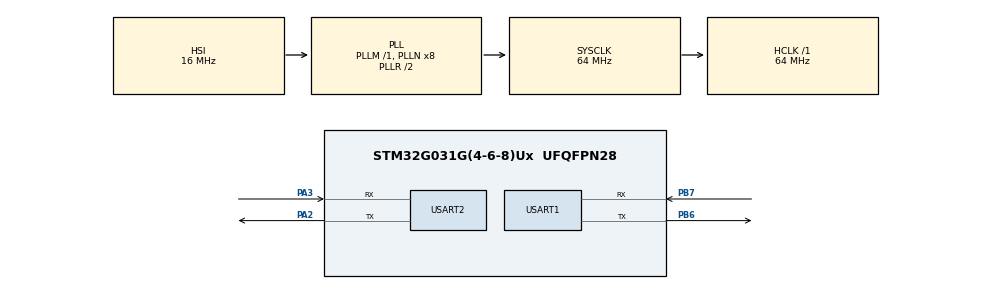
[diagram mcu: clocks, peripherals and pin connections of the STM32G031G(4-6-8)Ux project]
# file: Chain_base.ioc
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Dma.Request0=USART1_RX
Dma.Request1=USART1_TX
Dma.Request2=USART2_RX
Dma.Request3=USART2_TX
Dma.USART1_RX.0.Direction=DMA_PERIPH_TO_MEMORY
Dma.USART1_RX.0.EventEnable=DISABLE
Dma.USART1_RX.0.Instance=DMA1_Channel1
Dma.USART1_RX.0.MemDataAlignment=DMA_MDATAALIGN_BYTE
Dma.USART1_RX.0.MemInc=DMA_MINC_ENABLE
Dma.USART1_RX.0.Mode=DMA_NORMAL
Dma.USART1_RX.0.PeriphDataAlignment=DMA_PDATAALIGN_BYTE
Dma.USART1_RX.0.PeriphInc=DMA_PINC_DISABLE
Dma.USART1_RX.0.Polarity=HAL_DMAMUX_REQ_GEN_RISING
Dma.USART1_RX.0.Priority=DMA_PRIORITY_LOW
Dma.USART1_RX.0.RequestNumber=1
Dma.USART1_RX.0.SignalID=NONE
Dma.USART1_RX.0.SyncEnable=DISABLE
Dma.USART1_RX.0.SyncPolarity=HAL_DMAMUX_SYNC_NO_EVENT
Dma.USART1_RX.0.SyncRequestNumber=1
Dma.USART1_RX.0.SyncSignalID=NONE
Dma.USART1_TX.1.Direction=DMA_MEMORY_TO_PERIPH
Dma.USART1_TX.1.EventEnable=DISABLE
Dma.USART1_TX.1.Instance=DMA1_Channel2
Dma.USART1_TX.1.MemDataAlignment=DMA_MDATAALIGN_BYTE
Dma.USART1_TX.1.MemInc=DMA_MINC_ENABLE
Dma.USART1_TX.1.Mode=DMA_NORMAL
Dma.USART1_TX.1.PeriphDataAlignment=DMA_PDATAALIGN_BYTE
Dma.USART1_TX.1.PeriphInc=DMA_PINC_DISABLE
Dma.USART1_TX.1.Polarity=HAL_DMAMUX_REQ_GEN_RISING
Dma.USART1_TX.1.Priority=DMA_PRIORITY_LOW
Dma.USART1_TX.1.RequestNumber=1
Dma.USART1_TX.1.SignalID=NONE
Dma.USART1_TX.1.SyncEnable=DISABLE
Dma.USART1_TX.1.SyncPolarity=HAL_DMAMUX_SYNC_NO_EVENT
Dma.USART1_TX.1.SyncRequestNumber=1
Dma.USART1_TX.1.SyncSignalID=NONE
Dma.USART2_RX.2.Direction=DMA_PERIPH_TO_MEMORY
Dma.USART2_RX.2.EventEnable=DISABLE
Dma.USART2_RX.2.Instance=DMA1_Channel3
Dma.USART2_RX.2.MemDataAlignment=DMA_MDATAALIGN_BYTE
Dma.USART2_RX.2.MemInc=DMA_MINC_ENABLE
Dma.USART2_RX.2.Mode=DMA_NORMAL
Dma.USART2_RX.2.PeriphDataAlignment=DMA_PDATAALIGN_BYTE
Dma.USART2_RX.2.PeriphInc=DMA_PINC_DISABLE
Dma.USART2_RX.2.Polarity=HAL_DMAMUX_REQ_GEN_RISING
Dma.USART2_RX.2.Priority=DMA_PRIORITY_LOW
Dma.USART2_RX.2.RequestNumber=1
Dma.USART2_RX.2.SignalID=NONE
Dma.USART2_RX.2.SyncEnable=DISABLE
Dma.USART2_RX.2.SyncPolarity=HAL_DMAMUX_SYNC_NO_EVENT
Dma.USART2_RX.2.SyncRequestNumber=1
Dma.USART2_RX.2.SyncSignalID=NONE
Dma.USART2_TX.3.Direction=DMA_MEMORY_TO_PERIPH
Dma.USART2_TX.3.EventEnable=DISABLE
Dma.USART2_TX.3.Instance=DMA1_Channel4
Dma.USART2_TX.3.MemDataAlignment=DMA_MDATAALIGN_BYTE
Dma.USART2_TX.3.MemInc=DMA_MINC_ENABLE
Dma.USART2_TX.3.Mode=DMA_NORMAL
Dma.USART2_TX.3.PeriphDataAlignment=DMA_PDATAALIGN_BYTE
Dma.USART2_TX.3.PeriphInc=DMA_PINC_DISABLE
Dma.USART2_TX.3.Polarity=HAL_DMAMUX_REQ_GEN_RISING
Dma.USART2_TX.3.Priority=DMA_PRIORITY_LOW
Dma.USART2_TX.3.RequestNumber=1
Dma.USART2_TX.3.SignalID=NONE
Dma.USART2_TX.3.SyncEnable=DISABLE
Dma.USART2_TX.3.SyncPolarity=HAL_DMAMUX_SYNC_NO_EVENT
Dma.USART2_TX.3.SyncRequestNumber=1
Dma.USART2_TX.3.SyncSignalID=NONE
IWDG.Prescaler=IWDG_PRESCALER_16
Mcu.Family=STM32G0
Mcu.Name=STM32G031G(4-6-8)Ux
Mcu.Package=UFQFPN28
NVIC.DMA1_Ch4_5_DMAMUX1_OVR_IRQn=true\:1\:0\:true\:false\:true\:false\:true\:true
NVIC.DMA1_Channel1_IRQn=true\:1\:0\:true\:false\:true\:false\:true\:true
NVIC.DMA1_Channel2_3_IRQn=true\:1\:0\:true\:false\:true\:false\:true\:true
NVIC.FLASH_IRQn=true\:1\:0\:true\:false\:true\:true\:true\:true
NVIC.TIM14_IRQn=true\:1\:0\:true\:false\:true\:true\:true\:true
NVIC.TIM16_IRQn=true\:1\:0\:true\:false\:true\:true\:true\:true
NVIC.USART1_IRQn=true\:0\:0\:false\:false\:true\:false\:true\:true
NVIC.USART2_IRQn=true\:0\:0\:false\:false\:true\:false\:true\:true
PA2.GPIO_PuPd=GPIO_PULLUP
PA2.GPIO_Speed=GPIO_SPEED_FREQ_HIGH
PA2.Mode=Asynchronous
PA2.PinState=GPIO_PIN_RESET
PA2.Signal=USART2_TX
PA3.GPIO_PuPd=GPIO_PULLUP
PA3.GPIO_Speed=GPIO_SPEED_FREQ_HIGH
PA3.Mode=Asynchronous
PA3.PinState=GPIO_PIN_RESET
PA3.Signal=USART2_RX
PB6.GPIO_PuPd=GPIO_PULLUP
PB6.GPIO_Speed=GPIO_SPEED_FREQ_HIGH
PB6.Mode=Asynchronous
PB6.Signal=USART1_TX
PB7.GPIO_PuPd=GPIO_PULLUP
PB7.GPIO_Speed=GPIO_SPEED_FREQ_HIGH
PB7.Mode=Asynchronous
PB7.Signal=USART1_RX
ProjectManager.HeapSize=0x200
ProjectManager.StackSize=0x400
ProjectManager.TargetToolchain=STM32CubeIDE
RCC.ADCFreq_Value=64000000
RCC.AHBFreq_Value=64000000
RCC.CortexFreq_Value=64000000
RCC.EXTERNAL_CLOCK_VALUE=12288000
RCC.HCLKFreq_Value=64000000
RCC.HSE_VALUE=8000000
RCC.HSI_VALUE=16000000
RCC.LSE_VALUE=32768
RCC.PLLQ=RCC_PLLQ_DIV4
RCC.SYSCLKFreq_VALUE=64000000
RCC.SYSCLKSource=RCC_SYSCLKSOURCE_PLLCLK
RCC.VCOOutputFreq_Value=128000000
TIM14.AutoReloadPreload=TIM_AUTORELOAD_PRELOAD_ENABLE
TIM14.Period=1699
TIM14.Prescaler=6399
TIM16.Period=9999
TIM16.Prescaler=6399
USART1.VirtualMode-Asynchronous=VM_ASYNC
USART2.VirtualMode-Asynchronous=VM_ASYNC
VP_IWDG_VS_IWDG.Mode=IWDG_Activate
VP_TIM14_VS_ClockSourceINT.Mode=Enable_Timer
VP_TIM16_VS_ClockSourceINT.Mode=Enable_Timer
board=custom

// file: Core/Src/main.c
/* USER CODE BEGIN Header */
/**
 ******************************************************************************
 * @file           : main.c
 * @brief          : Main program body
 ******************************************************************************
 * @attention
 *
 * Copyright (c) 2024 STMicroelectronics.
 * All rights reserved.
 *
 * This software is licensed under terms that can be found in the LICENSE file
 * in the root directory of this software component.
 * If no LICENSE file comes with this software, it is provided AS-IS.
 *
 ******************************************************************************
 */
/* USER CODE END Header */
#include "main.h"
#include "dma.h"
#include "iwdg.h"
#include "tim.h"
#include "usart.h"
#include "gpio.h"

/* USER CODE BEGIN Includes */
#include "base_function.h"
#include "RGB.h"
#include "myflash.h"
/* USER CODE END Includes */

/* USER CODE BEGIN PV */
__IO uint8_t g_uart_in_rx_buf[2][BUFFER_SIZE];
__IO uint8_t g_uart_out_rx_buf[2][BUFFER_SIZE];
__IO uint8_t g_uart_in_tx_status = 0;
__IO uint8_t g_uart_out_tx_status = 0;
__IO uint8_t g_uart_in_transmit_commplete = 1;
__IO uint8_t g_uart_out_transmit_commplete = 1;
__IO uint8_t g_cmd_buf[BUFFER_SIZE] = {0};
__IO uint8_t g_cmd_size = 0;
__IO uint8_t g_cmd_status = CMD_SPACE_IDLE_STATUS;
__IO uint8_t g_tail_status = CHAIN_TAIL_DEVICE;
__IO uint8_t g_heart_beat_record = 0;
__IO uint8_t g_bootloader_version = 0;
__IO uint8_t g_firmware_version = SOFTWARE_VERSION;
__IO uint16_t g_device_type = (uint8_t)((PRODUCT_TYPE_HIGH << 8) | PRODUCT_TYPE_LOW);
__IO uint8_t g_light = 0;

/* USER CODE END PV */

void SystemClock_Config(void);

/* USER CODE BEGIN 0 */
/**
 * @brief Set the Interrupt Vector Table for the application in SRAM.
 * @param None
 * @retval None
 */
void iap_set(void)
{
    uint8_t i;  // Loop index
    uint32_t *pVecTab = (uint32_t *)(0x20000000);  // Pointer to the vector table in SRAM

    // Copy the interrupt vector table from the application address to SRAM
    for (i = 0; i < 48; i++)
    {
        // Copy each vector entry to the SRAM vector table
        *(pVecTab++) = *(__IO uint32_t *)(APPLICATION_ADDRESS + (i << 2));
    }

    // Enable the SYSCFG peripheral clock
    __HAL_RCC_SYSCFG_CLK_ENABLE();

    // Remap the memory to use SRAM for the vector table
    __HAL_SYSCFG_REMAPMEMORY_SRAM();
}

/**
 * @brief Initialize the chain device settings.
 * @param None
 * @retval None
 */
void chain_init(void)
{
    // Get the version of the bootloader
    g_bootloader_version = get_bootloader_version();

    // Check if the RGB light setting is set to maximum (0xFF)
    if (get_rgb_light() == 0xFF)
    {
        // Set the light to a base color if it is maximum
        g_light = RGB_LIGHT_BASE;
        set_rgb_light(g_light);
    }
    else
    {
        // Otherwise, get the current RGB light setting
        g_light = get_rgb_light();
    }
}
/* USER CODE END 0 */

int main(void)
{

  /* USER CODE BEGIN 1 */
  iap_set();
  chain_init();
  /* USER CODE END 1 */

  /* MCU Configuration--------------------------------------------------------*/

  /* Reset of all peripherals, Initializes the Flash interface and the Systick. */
  HAL_Init();

  /* Configure the system clock */
  SystemClock_Config();

  /* Initialize all configured peripherals */
  MX_GPIO_Init();
  MX_DMA_Init();
  MX_USART1_UART_Init();
  MX_USART2_UART_Init();
  MX_IWDG_Init();
  MX_TIM14_Init();
  MX_TIM16_Init();
  /* USER CODE BEGIN 2 */
  //	rgb_init();
  rgb_init();
  LL_TIM_EnableIT_UPDATE(TIM14); // ENABLE TIM14
  LL_TIM_EnableCounter(TIM14);   // ENABLE TIM14

  /* USER CODE END 2 */

  /* Infinite loop */
  /* USER CODE BEGIN WHILE */
  while (1)
  {
    if (g_cmd_status == CMD_SPACE_BUSY_STATUS)
    {
      switch (g_cmd_buf[0])
      {
      case CHAIN_SET_RGB_VALUE:
        chain_set_rgb_value((uint8_t *)(g_cmd_buf + 1), (g_cmd_size - 1));
        break;
      case CHAIN_GET_RGB_VALUE:
        chain_get_rgb_value();
        break;
      case CHAIN_SET_RGB_LIGHT:
        chain_set_light_value(g_cmd_buf[1]);
        break;
      case CHAIN_GET_RGB_LIGHT:
        chain_get_light_value();
        break;
      case CHAIN_GET_BOOTLOADER_VERSION:
        chain_get_bootloader_version_handle();
        break;
      case CHAIN_GET_VERSION_DEVICE:
        chain_get_firmware_version_handle();
        break;
      case CHAIN_GET_DEVICE_TYPE:
        chain_get_device_type_handle();
        break;
      case CHAIN_IAP_UPDATE:
        chain_iap_update_handle(g_cmd_buf[1]);
        break;
      default:
        break;
      }
      g_cmd_status = CMD_SPACE_IDLE_STATUS;
    }
    /* USER CODE END WHILE */

    /* USER CODE BEGIN 3 */
    LL_IWDG_ReloadCounter(IWDG);
  }
  /* USER CODE END 3 */
}

void SystemClock_Config(void)
{
  RCC_OscInitTypeDef RCC_OscInitStruct = {0};
  RCC_ClkInitTypeDef RCC_ClkInitStruct = {0};

  /** Configure the main internal regulator output voltage
  */
  HAL_PWREx_ControlVoltageScaling(PWR_REGULATOR_VOLTAGE_SCALE1);

  /** Initializes the RCC Oscillators according to the specified parameters
  * in the RCC_OscInitTypeDef structure.
  */
  RCC_OscInitStruct.OscillatorType = RCC_OSCILLATORTYPE_HSI|RCC_OSCILLATORTYPE_LSI;
  RCC_OscInitStruct.HSIState = RCC_HSI_ON;
  RCC_OscInitStruct.HSIDiv = RCC_HSI_DIV1;
  RCC_OscInitStruct.HSICalibrationValue = RCC_HSICALIBRATION_DEFAULT;
  RCC_OscInitStruct.LSIState = RCC_LSI_ON;
  RCC_OscInitStruct.PLL.PLLState = RCC_PLL_ON;
  RCC_OscInitStruct.PLL.PLLSource = RCC_PLLSOURCE_HSI;
  RCC_OscInitStruct.PLL.PLLM = RCC_PLLM_DIV1;
  RCC_OscInitStruct.PLL.PLLN = 8;
  RCC_OscInitStruct.PLL.PLLP = RCC_PLLP_DIV2;
  RCC_OscInitStruct.PLL.PLLQ = RCC_PLLQ_DIV4;
  RCC_OscInitStruct.PLL.PLLR = RCC_PLLR_DIV2;
  if (HAL_RCC_OscConfig(&RCC_OscInitStruct) != HAL_OK)
  {
    Error_Handler();
  }

  /** Initializes the CPU, AHB and APB buses clocks
  */
  RCC_ClkInitStruct.ClockType = RCC_CLOCKTYPE_HCLK|RCC_CLOCKTYPE_SYSCLK
                              |RCC_CLOCKTYPE_PCLK1;
  RCC_ClkInitStruct.SYSCLKSource = RCC_SYSCLKSOURCE_PLLCLK;
  RCC_ClkInitStruct.AHBCLKDivider = RCC_SYSCLK_DIV1;
  RCC_ClkInitStruct.APB1CLKDivider = RCC_HCLK_DIV1;

  if (HAL_RCC_ClockConfig(&RCC_ClkInitStruct, FLASH_LATENCY_2) != HAL_OK)
  {
    Error_Handler();
  }
}

void Error_Handler(void)
{
  __disable_irq();
  while (1)
  {
  }
}
